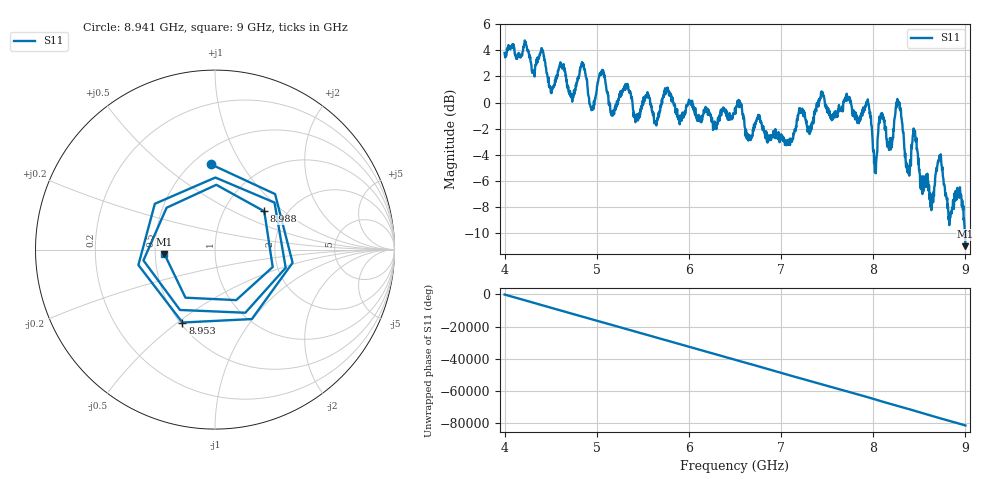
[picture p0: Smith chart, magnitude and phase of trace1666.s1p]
! Created with skrf 1.8.0 (http://scikit-rf.org).
# Hz S RI R 50.0
!freq ReS11 ImS11
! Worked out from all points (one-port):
!   1601 points, 4 GHz to 9 GHz, reference 50 ohm
!   lowest |S11| = -11.0 dB at 9 GHz (marker M1), VSWR 1.79, Z = 28 - j1.52 ohm
!   |S11| at or under -10 dB: 8.992887 GHz to end of sweep
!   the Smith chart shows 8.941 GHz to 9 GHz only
!   S11 on the Smith chart (normalised r, x): 8.941 GHz: 0.61, +0.75; 8.953 GHz: 0.51, -0.52; 8.988 GHz: 1.54, +0.75; 9 GHz: 0.56, -0.03
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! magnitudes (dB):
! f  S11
! 4 GHz  3.8
! 4.403 GHz  4.1
! 4.506 GHz  1.0
! 4.625 GHz  2.6
! 4.725 GHz  0.4
! 4.85 GHz  3.0
! 4.944 GHz  -0.5
! 5.053 GHz  2.3
! 5.162 GHz  -1.0
! 5.25 GHz  0.4
! 5.875 GHz  -1.1
! 6.5 GHz  -0.4
! 7.125 GHz  -2.7
! 7.75 GHz  0.2
! 7.944 GHz  0.0
! 8.019 GHz  -5.3
! 8.084 GHz  -0.8
! 8.181 GHz  -2.7
! 8.275 GHz  0.0
! 8.375 GHz  -4.8
! 8.447 GHz  -2.3
! 8.634 GHz  -8.0
! 8.719 GHz  -4.0
! 8.831 GHz  -8.5
! 8.941 GHz  -6.5
! 8.953 GHz  -7.0
! 8.988 GHz  -9.2
! 9 GHz  -11.0
